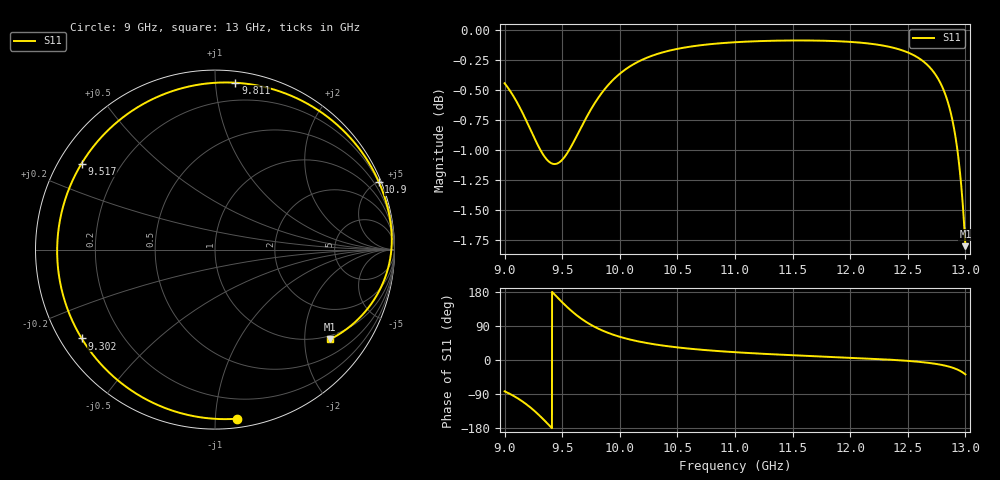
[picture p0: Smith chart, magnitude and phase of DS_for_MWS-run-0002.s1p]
! TOUCHSTONE file generated by CST DESIGN STUDIO
! Date and time: Tue Feb  4 17:05:11 2025
! Project name: C:\Work\MatlabApps\UnitCellOptimizationMatlab\CST\unitcell.cst
! Tree item: Tasks\Sweep1\SPara1\S-Parameters
! Header version: 2024
! Port assignment regex: !\s*Touchstone port\s*([0-9]+)\s*=\s*(CST MWS port|CST DES external port|CST DES block port)\s*(.+)\s* \(\"(.*)\"\)(\s*mode\s*([0-9]+))?.*
! Touchstone port assignment:
! Touchstone port 1 = CST DES external port 1 ("")
# GHz S MA R 50
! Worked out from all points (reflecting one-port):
!   4001 points, 9 GHz to 13 GHz, reference 50 ohm
!   lowest |S11| = -1.8 dB at 13 GHz (marker M1), VSWR 9.66, Z = 44.7 - j132 ohm
!   phase of S11 starts at -83 deg and turns -315 deg over the sweep
!   S11 on the Smith chart (normalised r, x): 9 GHz: 0.06, -1.14; 9.302 GHz: 0.06, -0.30; 9.517 GHz: 0.07, +0.29; 9.811 GHz: 0.07, +1.13; 10.9 GHz: 0.16, +5.03; 13 GHz: 0.89, -2.63
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9  0.9501 -82.7
9.091  0.9358 -97.0
9.166  0.9212 -111.7
9.235  0.9063 -128.0
9.302  0.8926 -146.3
9.354  0.8843 -161.9
9.402  0.8799 -177.0
9.45  0.8793 167.7
9.5  0.8826 152.3
9.517  0.8846 147.2
9.584  0.8951 128.5
9.651  0.908 112.3
9.725  0.9221 97.2
9.811  0.9366 83.0
9.902  0.9488 71.2
10  0.9588 61.2
10.101  0.9665 53.1
10.216  0.9728 45.8
10.5  0.982 33.3
10.904  0.9876 22.5
11  0.9883 20.6
11.5  0.99 12.6
12  0.9886 6.0
12.5  0.9787 -2.3
12.694  0.9643 -8.1
12.838  0.9362 -15.9
12.926  0.8943 -24.6
13  0.8123 -38.0
